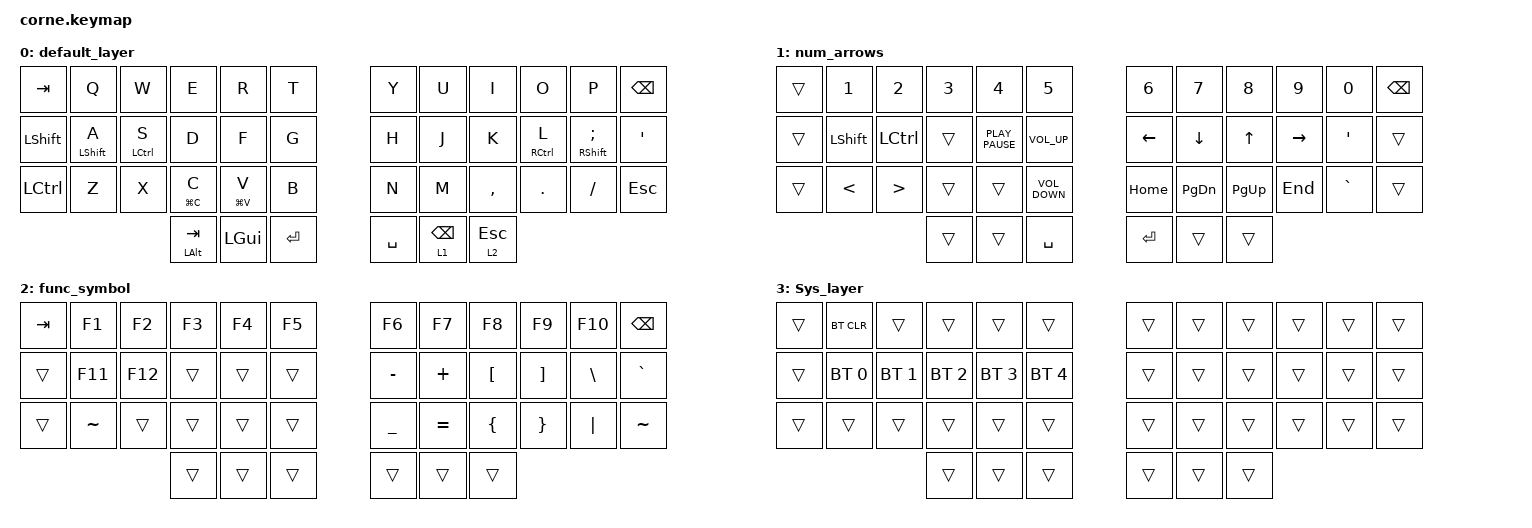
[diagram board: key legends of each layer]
/*
 * Copyright (c) 2020 The ZMK Contributors
 *
 * SPDX-License-Identifier: MIT
 */

#include <behaviors.dtsi>
#include <dt-bindings/zmk/bt.h>
#include <dt-bindings/zmk/keys.h>

/ {
    combos {
        compatible = "zmk,combos";

        Exclamation {
            bindings = <&kp EXCL>;
            key-positions = <1 13>;
        };

        At {
            bindings = <&kp AT_SIGN>;
            key-positions = <2 14>;
        };

        Hashtag {
            bindings = <&kp HASH>;
            key-positions = <3 15>;
        };

        Dollar {
            bindings = <&kp DOLLAR>;
            key-positions = <4 16>;
        };

        Percent {
            bindings = <&kp PERCENT>;
            key-positions = <5 17>;
        };

        Caret {
            bindings = <&kp CARET>;
            key-positions = <6 18>;
        };

        Amps {
            bindings = <&kp AMPS>;
            key-positions = <7 19>;
        };

        Astrk {
            bindings = <&kp ASTRK>;
            key-positions = <8 20>;
        };

        L_Parent {
            bindings = <&kp LEFT_PARENTHESIS>;
            key-positions = <9 21>;
        };

        R_Parent {
            bindings = <&kp RIGHT_PARENTHESIS>;
            key-positions = <10 22>;
        };

        backspace {
            bindings = <&kp BACKSPACE>;
            key-positions = <10 9>;
        };

        del {
            bindings = <&kp DELETE>;
            key-positions = <21 22>;
        };

        BT {
            bindings = <&mo 3>;
            key-positions = <38 37 36>;
        };

        caps {
            bindings = <&caps_word>;
            key-positions = <13 25>;
        };

        tab {
            bindings = <&kp TAB>;
            key-positions = <13 14>;
        };
    };

    behaviors {
        longPress: longPress {
            compatible = "zmk,behavior-hold-tap";
            label = "LONGPRESS";
            bindings = <&kp>, <&kp>;

            #binding-cells = <2>;
            tapping-term-ms = <300>;
            flavor = "tap-preferred";
        };

        HRShiftL: HRShiftL {
            compatible = "zmk,behavior-hold-tap";
            label = "HRSHIFTL";
            bindings = <&kp>, <&kp>;

            #binding-cells = <2>;
            tapping-term-ms = <200>;
            hold-while-undecided;
            hold-trigger-key-positions = <6 6 7 8 9 10 11 18 19 20 21 22 23 30 31 32 33 34 35 41 40 39>;
            hold-trigger-on-release;
        };

        HRShiftR: HRShiftR {
            compatible = "zmk,behavior-hold-tap";
            label = "HRSHIFTR";
            bindings = <&kp>, <&kp>;

            #binding-cells = <2>;
            tapping-term-ms = <200>;
            hold-while-undecided;
            hold-trigger-key-positions = <0 1 2 3 4 5 12 13 14 15 16 17 26 27 28 24 25 29 38 37 36>;
            hold-trigger-on-release;
        };

        HR_R: HR_R {
            compatible = "zmk,behavior-hold-tap";
            label = "HR_R";
            bindings = <&kp>, <&kp>;

            #binding-cells = <2>;
            flavor = "balanced";
            tapping-term-ms = <200>;
            hold-trigger-key-positions = <0 1 2 3 4 5 12 13 14 15 16 17 24 25 26 27 28 29 37 38 36>;
        };

        HR_L: HR_L {
            compatible = "zmk,behavior-hold-tap";
            label = "HR_L";
            bindings = <&kp>, <&kp>;

            #binding-cells = <2>;
            flavor = "balanced";
            tapping-term-ms = <200>;
            hold-trigger-key-positions = <6 7 8 9 10 11 18 19 20 21 22 23 30 31 32 33 34 35 39 40 41>;
        };
    };

    keymap {
        compatible = "zmk,keymap";

        default_layer {
            // -----------------------------------------------------------------------------------------
            // |  TAB |  Q  |  W  |  E  |  R  |  T  |   |  Y  |  U   |  I  |  O  |  P  | BSPC |
            // | CTRL |  A  |  S  |  D  |  F  |  G  |   |  H  |  J   |  K  |  L  |  ;  |  '   |
            // | SHFT |  Z  |  X  |  C  |  V  |  B  |   |  N  |  M   |  ,  |  .  |  /  | ESC  |
            //                    | GUI | LWR | SPC |   | ENT | RSE  | ALT |

            bindings = <
&kp TAB     &kp Q          &kp W          &kp E               &kp R               &kp T        &kp Y      &kp U            &kp I      &kp O          &kp P              &kp BSPC
&kp LSHIFT  &HR_L LSHFT A  &HR_L LCTRL S  &kp D               &kp F               &kp G        &kp H      &kp J            &kp K      &HR_R RCTRL L  &HR_R RSHIFT SEMI  &kp SQT
&kp LCTRL   &kp Z          &kp X          &longPress LG(C) C  &longPress LG(V) V  &kp B        &kp N      &kp M            &kp COMMA  &kp DOT        &kp FSLH           &kp ESC
                                          &mt LEFT_ALT TAB    &kp LGUI            &kp ENTER    &kp SPACE  &lt 1 BACKSPACE  &lt 2 ESC
            >;
        };

        num_arrows {
            // -----------------------------------------------------------------------------------------
            // |  TAB |  1  |  2  |  3  |  4  |  5  |   |  6  |  7  |  8  |  9  |  0  | BSPC |
            // | BTCLR| BT1 | BT2 | BT3 | BT4 | BT5 |   | LFT | DWN |  UP | RGT |     |      |
            // | SHFT |     |     |     |     |     |   |     |     |     |     |     |      |
            //                    | GUI |     | SPC |   | ENT |     | ALT |

            bindings = <
&trans  &kp N1         &kp N2            &kp N3  &kp N4            &kp N5               &kp N6          &kp N7          &kp N8       &kp N9           &kp N0     &kp BSPC
&trans  &kp LSHFT      &kp LEFT_CONTROL  &trans  &kp K_PLAY_PAUSE  &kp C_VOLUME_UP      &kp LEFT_ARROW  &kp DOWN_ARROW  &kp UP       &kp RIGHT_ARROW  &kp SQT    &trans
&trans  &kp LESS_THAN  &kp GREATER_THAN  &trans  &trans            &kp C_VOLUME_DOWN    &kp HOME        &kp PAGE_DOWN   &kp PAGE_UP  &kp END          &kp GRAVE  &trans
                                         &trans  &trans            &kp SPACE            &kp RET         &trans          &trans
            >;
        };

        func_symbol {
            // -----------------------------------------------------------------------------------------
            // |  TAB |  !  |  @  |  #  |  $  |  %  |   |  ^  |  &  |  *  |  (  |  )  | BSPC |
            // | CTRL |     |     |     |     |     |   |  -  |  =  |  [  |  ]  |  \  |  `   |
            // | SHFT |     |     |     |     |     |   |  _  |  +  |  {  |  }  | "|" |  ~   |
            //                    | GUI |     | SPC |   | ENT |     | ALT |

            bindings = <
&kp TAB  &kp F1     &kp F2   &kp F3  &kp F4  &kp F5    &kp F6     &kp F7     &kp F8    &kp F9    &kp F10   &kp BSPC
&trans   &kp F11    &kp F12  &trans  &trans  &trans    &kp MINUS  &kp PLUS   &kp LBKT  &kp RBKT  &kp BSLH  &kp GRAVE
&trans   &kp TILDE  &trans   &trans  &trans  &trans    &kp UNDER  &kp EQUAL  &kp LBRC  &kp RBRC  &kp PIPE  &kp TILDE
                             &trans  &trans  &trans    &trans     &trans     &trans
            >;
        };

        Sys_layer {
            bindings = <
&trans  &bt BT_CLR    &trans        &trans        &trans        &trans          &trans  &trans  &trans  &trans  &trans  &trans
&trans  &bt BT_SEL 0  &bt BT_SEL 1  &bt BT_SEL 2  &bt BT_SEL 3  &bt BT_SEL 4    &trans  &trans  &trans  &trans  &trans  &trans
&trans  &trans        &trans        &trans        &trans        &trans          &trans  &trans  &trans  &trans  &trans  &trans
                                    &trans        &trans        &trans          &trans  &trans  &trans
            >;
        };
    };
};
